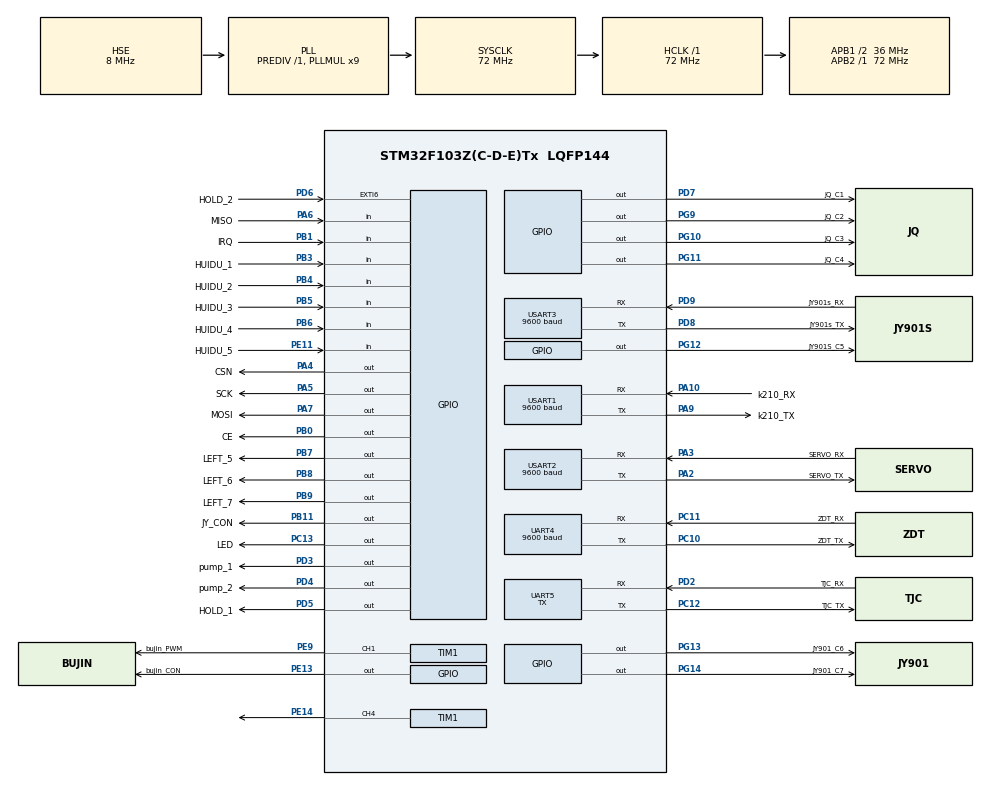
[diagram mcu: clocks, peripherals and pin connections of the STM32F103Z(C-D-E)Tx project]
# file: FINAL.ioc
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Mcu.Family=STM32F1
Mcu.Name=STM32F103Z(C-D-E)Tx
Mcu.Package=LQFP144
NVIC.PriorityGroup=NVIC_PRIORITYGROUP_4
NVIC.TIM2_IRQn=true\:0\:0\:true\:false\:true\:true\:true\:true
NVIC.TIM3_IRQn=true\:7\:0\:true\:false\:true\:true\:true\:true
NVIC.TIM4_IRQn=true\:8\:0\:true\:false\:true\:true\:true\:true
NVIC.TIM6_IRQn=true\:6\:0\:true\:false\:true\:true\:true\:true
NVIC.UART4_IRQn=true\:1\:0\:true\:false\:true\:true\:true\:true
NVIC.UART5_IRQn=true\:5\:0\:true\:false\:true\:true\:true\:true
NVIC.USART1_IRQn=true\:1\:0\:true\:false\:true\:true\:true\:true
NVIC.USART2_IRQn=true\:2\:0\:true\:false\:true\:true\:true\:true
NVIC.USART3_IRQn=true\:3\:0\:true\:false\:true\:true\:true\:true
OSC_IN.Mode=HSE-External-Oscillator
OSC_IN.Signal=RCC_OSC_IN
OSC_OUT.Mode=HSE-External-Oscillator
OSC_OUT.Signal=RCC_OSC_OUT
PA10.GPIO_Label=k210_RX
PA10.Mode=Asynchronous
PA10.Signal=USART1_RX
PA13.Mode=Serial_Wire
PA13.Signal=SYS_JTMS-SWDIO
PA14.Mode=Serial_Wire
PA14.Signal=SYS_JTCK-SWCLK
PA2.GPIO_Label=SERVO_TX
PA2.Mode=Asynchronous
PA2.Signal=USART2_TX
PA3.GPIO_Label=SERVO_RX
PA3.Mode=Asynchronous
PA3.Signal=USART2_RX
PA4.GPIO_Label=CSN
PA4.GPIO_PuPd=GPIO_PULLUP
PA4.GPIO_Speed=GPIO_SPEED_FREQ_HIGH
PA4.Signal=GPIO_Output
PA5.GPIO_Label=SCK
PA5.GPIO_PuPd=GPIO_PULLUP
PA5.GPIO_Speed=GPIO_SPEED_FREQ_HIGH
PA5.PinState=GPIO_PIN_RESET
PA5.Signal=GPIO_Output
PA6.GPIO_Label=MISO
PA6.GPIO_PuPd=GPIO_PULLUP
PA6.Signal=GPIO_Input
PA7.GPIO_Label=MOSI
PA7.GPIO_PuPd=GPIO_PULLUP
PA7.GPIO_Speed=GPIO_SPEED_FREQ_HIGH
PA7.Signal=GPIO_Output
PA9.GPIO_Label=k210_TX
PA9.Mode=Asynchronous
PA9.Signal=USART1_TX
PB0.GPIO_Label=CE
PB0.GPIO_PuPd=GPIO_PULLUP
PB0.GPIO_Speed=GPIO_SPEED_FREQ_HIGH
PB0.Signal=GPIO_Output
PB1.GPIO_Label=IRQ
PB1.GPIO_PuPd=GPIO_PULLUP
PB1.Signal=GPIO_Input
PB11.GPIO_Label=JY_CON
PB11.PinState=GPIO_PIN_RESET
PB11.Signal=GPIO_Output
PB3.GPIO_Label=HUIDU_1
PB3.Signal=GPIO_Input
PB4.GPIO_Label=HUIDU_2
PB4.Signal=GPIO_Input
PB5.GPIO_Label=HUIDU_3
PB5.Signal=GPIO_Input
PB6.GPIO_Label=HUIDU_4
PB6.Signal=GPIO_Input
PB7.GPIO_Label=LEFT_5
PB7.Signal=GPIO_Output
PB8.GPIO_Label=LEFT_6
PB8.Signal=GPIO_Output
PB9.GPIO_Label=LEFT_7
PB9.Signal=GPIO_Output
PC10.GPIO_Label=ZDT_TX
PC10.Mode=Asynchronous
PC10.Signal=UART4_TX
PC11.GPIO_Label=ZDT_RX
PC11.Mode=Asynchronous
PC11.Signal=UART4_RX
PC12.GPIO_Label=TJC_TX
PC12.Mode=Asynchronous
PC12.Signal=UART5_TX
PC13-TAMPER-RTC.GPIO_Label=LED
PC13-TAMPER-RTC.Signal=GPIO_Output
PD2.GPIO_Label=TJC_RX
PD2.Mode=Asynchronous
PD2.Signal=UART5_RX
PD3.GPIO_Label=pump_1
PD3.Signal=GPIO_Output
PD4.GPIO_Label=pump_2
PD4.Signal=GPIO_Output
PD5.GPIO_Label=HOLD_1
PD5.Signal=GPIO_Output
PD6.GPIO_Label=HOLD_2
PD6.Signal=GPXTI6
PD7.GPIO_Label=JQ_C1
PD7.Signal=GPIO_Output
PD8.GPIO_Label=JY901s_TX
PD8.Mode=Asynchronous
PD8.Signal=USART3_TX
PD9.GPIO_Label=JY901s_RX
PD9.Mode=Asynchronous
PD9.Signal=USART3_RX
PE11.GPIO_Label=HUIDU_5
PE11.Signal=GPIO_Input
PE13.GPIO_Label=bujin_CON
PE13.Signal=GPIO_Output
PE14.Signal=S_TIM1_CH4
PE9.GPIO_Label=bujin_PWM
PE9.Signal=S_TIM1_CH1
PG10.GPIO_Label=JQ_C3
PG10.Signal=GPIO_Output
PG11.GPIO_Label=JQ_C4
PG11.Signal=GPIO_Output
PG12.GPIO_Label=JY901S_C5
PG12.Signal=GPIO_Output
PG13.GPIO_Label=JY901_C6
PG13.Signal=GPIO_Output
PG14.GPIO_Label=JY901_C7
PG14.Signal=GPIO_Output
PG9.GPIO_Label=JQ_C2
PG9.Signal=GPIO_Output
ProjectManager.HeapSize=0x200
ProjectManager.StackSize=0x400
ProjectManager.TargetToolchain=MDK-ARM V5.32
RCC.AHBFreq_Value=72000000
RCC.APB1CLKDivider=RCC_HCLK_DIV2
RCC.APB1Freq_Value=36000000
RCC.APB1TimFreq_Value=72000000
RCC.APB2Freq_Value=72000000
RCC.APB2TimFreq_Value=72000000
RCC.HCLKFreq_Value=72000000
RCC.PLLMUL=RCC_PLL_MUL9
RCC.PLLSourceVirtual=RCC_PLLSOURCE_HSE
RCC.SYSCLKFreq_VALUE=72000000
RCC.SYSCLKSource=RCC_SYSCLKSOURCE_PLLCLK
RCC.USBFreq_Value=72000000
SH.S_TIM1_CH1.0=TIM1_CH1,PWM Generation1 CH1
SH.S_TIM1_CH4.0=TIM1_CH4,PWM Generation4 CH4
TIM1.AutoReloadPreload=TIM_AUTORELOAD_PRELOAD_ENABLE
TIM1.Channel-PWM\ Generation1\ CH1=TIM_CHANNEL_1
TIM1.Channel-PWM\ Generation4\ CH4=TIM_CHANNEL_4
TIM1.Period=10-1
TIM1.Prescaler=720-1
TIM2.Period=100-1
TIM2.Prescaler=7200-1
TIM3.Period=1000-1
TIM3.Prescaler=7200-1
TIM4.Period=10-1
TIM4.Prescaler=720-1
TIM6.Period=1000-1
TIM6.Prescaler=720-1
UART4.BaudRate=9600
UART4.Mode=MODE_TX_RX
UART4.VirtualMode=Asynchronous
UART5.Mode=MODE_TX
UART5.VirtualMode=Asynchronous
USART1.BaudRate=9600
USART1.VirtualMode=VM_ASYNC
USART2.BaudRate=9600
USART2.Mode=MODE_TX
USART2.VirtualMode=VM_ASYNC
USART3.BaudRate=9600
USART3.VirtualMode=VM_ASYNC
VP_TIM1_VS_ClockSourceINT.Mode=Internal
VP_TIM2_VS_ClockSourceINT.Mode=Internal
VP_TIM3_VS_ClockSourceINT.Mode=Internal
VP_TIM4_VS_ClockSourceINT.Mode=Internal
VP_TIM6_VS_ClockSourceINT.Mode=Enable_Timer
board=custom

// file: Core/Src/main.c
/* USER CODE BEGIN Header */
/**
  ******************************************************************************
  * @file           : main.c
  * @brief          : Main program body
  ******************************************************************************
  * @attention
  *
  * Copyright (c) 2024 STMicroelectronics.
  * All rights reserved.
  *
  * This software is licensed under terms that can be found in the LICENSE file
  * in the root directory of this software component.
  * If no LICENSE file comes with this software, it is provided AS-IS.
  *
  ******************************************************************************
  */
/* USER CODE END Header */
#include "main.h"
#include "tim.h"
#include "usart.h"
#include "gpio.h"

/* USER CODE BEGIN Includes */
#include "NRF24L01.h"
#include "tjc_usart_hmi.h"
#include "LobotServoController.h"
#include "Emm_v5.h"
#include "JY901S.h"
#include "music.h"
#include "stdlib.h"
/* USER CODE END Includes */

void SystemClock_Config(void);
/* USER CODE BEGIN PFP */
uint8_t line1[6];//第一行的旱情信息
uint8_t line2[6];//第二行的旱情信息
uint8_t line3[6];//第三行的旱情信息
uint8_t rj=0;//旱情传输
uint8_t Buf[32] ;//旱情缓冲区储存
uint8_t NRflag=1;
uint16_t BUJIN_1=0;
float BUJIN_CIRCLE=0;
extern uint8_t Rxdata;
extern uint8_t turnflag1;
extern uint8_t turnflag2;
extern  uint8_t turnflag3;
extern uint8_t turnflag4;
extern uint8_t turnflag5;
extern uint8_t turnflag6;

extern int zyaw;
extern int xpitch;
int k=0;//用于暂存zyaw
extern int x2;
extern int x1;
extern int z1;
extern int z3;
extern int z4;
extern int z5;
extern int z6;
extern uint8_t on_poflag1;
extern uint8_t down_poflag1;
extern uint8_t on_poflag2;
extern uint8_t down_poflag2;
extern uint8_t stopflag1;
extern uint8_t stopflag2;
extern uint8_t stopflag3;
extern uint8_t stopflag4;
extern uint8_t stopflag5;
extern uint8_t  stopflag6;
extern uint32_t poi;
uint32_t s1=0;//步进一的速度加成
uint32_t s2=0;//步进二的速度加成
uint32_t s3=0;//步进三的速度加成
uint32_t s4=0;//步进四的速度加成
extern uint8_t modifyflag;
extern uint8_t modifyflag1;
extern uint16_t distance;
/* USER CODE END PFP */

int main(void)
{

  /* MCU Configuration--------------------------------------------------------*/

  /* Reset of all peripherals, Initializes the Flash interface and the Systick. */
  HAL_Init();

  /* Configure the system clock */
  SystemClock_Config();

  /* Initialize all configured peripherals */
  MX_GPIO_Init();
  MX_USART1_UART_Init();
  MX_USART3_UART_Init();
  MX_UART4_Init();
  MX_UART5_Init();
  MX_USART2_UART_Init();
  MX_TIM1_Init();
  MX_TIM6_Init();
  MX_TIM2_Init();
  MX_TIM3_Init();
  MX_TIM4_Init();
  /* USER CODE BEGIN 2 */
	initRingBuff();//为k210初始化
	initRingBuff1();//为接收ZDT数据初始化
	Buf_clear1();//为接收旱情信息的缓冲区进行初始化
	hanqing_init();//为旱情储存区初始化
	NRF24L01_Init();//初始化NRF设备
	while(NRflag==1){//这个循环用于接收旱情信息
		if (NRF24L01_Get_Value_Flag() == 0)
		{
			NRF24L01_GetRxBuf(Buf);
			judge_receive();
			rj++;
			if(rj>=1){
				NRflag=0;
				break;
		  }
	}
  }
	show_hanqing(); //在串口屏上显示旱情数据
	ALL_INIT();//定时器，陀螺仪串口中断的初始化等等
	line_fold();
	line1_act();//第一行的动作函数
	line2_act();//b区动作函数
	line3_act();//c区动作函数
	line4_act();//d区动作函数

	/*
	读者须知：在你们调试的时候，一定要注意电气安全，不能让电池电压低于11.2V,调前务必使得小车上面的平面处于水平状态
	我大部分的处理转弯和丝杠电机调平的函数都写在了定时器中断里面HAL_TIM_PeriodElapsedCallback(里面可以在各个turn_flag对应下，更改角度值)
	我使用了三个定时器，其中一个专门调平，一个解算JY901S数据，一个处理转弯等，我用到了大量的标志位，可以在Emm_v5.c的头部看到
	我用了多个延时函数，这是为了缩短时间，防止电机犯病，至于电机犯病的原因还没找到，怀疑可能是概率问题。
	上坡下坡是十分之困难的，轮胎似乎要直径更大一些才方便，此外，还有一个拙劣的办法，就是小车在坡上不作停留，直接通过，也可以试下。
	但是直径大些转弯可能不是很容易。
	调视觉识别的话可以在k210.py里面调，那个旱情识别模块已经没有任何问题了，你们要努力干，咱们时间不多了，想办法解决上下坡偏航的问题
	想办法找出电机犯病的问题。我这里面的参数轻易不要改动，都是多次测试后得出的，延时函数不要任意改，Final.ioc里面不要改
	我最近一周多十分忙，可能抽不出时间来
	*/
  /* USER CODE END 2 */

  /* Infinite loop */
  /* USER CODE BEGIN WHILE */
  while (1)
  {

		HAL_GPIO_TogglePin(LED_GPIO_Port,LED_Pin);
		delay_ms(500);

    /* USER CODE END WHILE */

  }
}

void SystemClock_Config(void)
{
  RCC_OscInitTypeDef RCC_OscInitStruct = {0};
  RCC_ClkInitTypeDef RCC_ClkInitStruct = {0};

  /** Initializes the RCC Oscillators according to the specified parameters
  * in the RCC_OscInitTypeDef structure.
  */
  RCC_OscInitStruct.OscillatorType = RCC_OSCILLATORTYPE_HSE;
  RCC_OscInitStruct.HSEState = RCC_HSE_ON;
  RCC_OscInitStruct.HSEPredivValue = RCC_HSE_PREDIV_DIV1;
  RCC_OscInitStruct.HSIState = RCC_HSI_ON;
  RCC_OscInitStruct.PLL.PLLState = RCC_PLL_ON;
  RCC_OscInitStruct.PLL.PLLSource = RCC_PLLSOURCE_HSE;
  RCC_OscInitStruct.PLL.PLLMUL = RCC_PLL_MUL9;
  if (HAL_RCC_OscConfig(&RCC_OscInitStruct) != HAL_OK)
  {
    Error_Handler();
  }

  /** Initializes the CPU, AHB and APB buses clocks
  */
  RCC_ClkInitStruct.ClockType = RCC_CLOCKTYPE_HCLK|RCC_CLOCKTYPE_SYSCLK
                              |RCC_CLOCKTYPE_PCLK1|RCC_CLOCKTYPE_PCLK2;
  RCC_ClkInitStruct.SYSCLKSource = RCC_SYSCLKSOURCE_PLLCLK;
  RCC_ClkInitStruct.AHBCLKDivider = RCC_SYSCLK_DIV1;
  RCC_ClkInitStruct.APB1CLKDivider = RCC_HCLK_DIV2;
  RCC_ClkInitStruct.APB2CLKDivider = RCC_HCLK_DIV1;

  if (HAL_RCC_ClockConfig(&RCC_ClkInitStruct, FLASH_LATENCY_2) != HAL_OK)
  {
    Error_Handler();
  }
}

void Error_Handler(void)
{
  __disable_irq();
  while (1)
  {
  }
}
